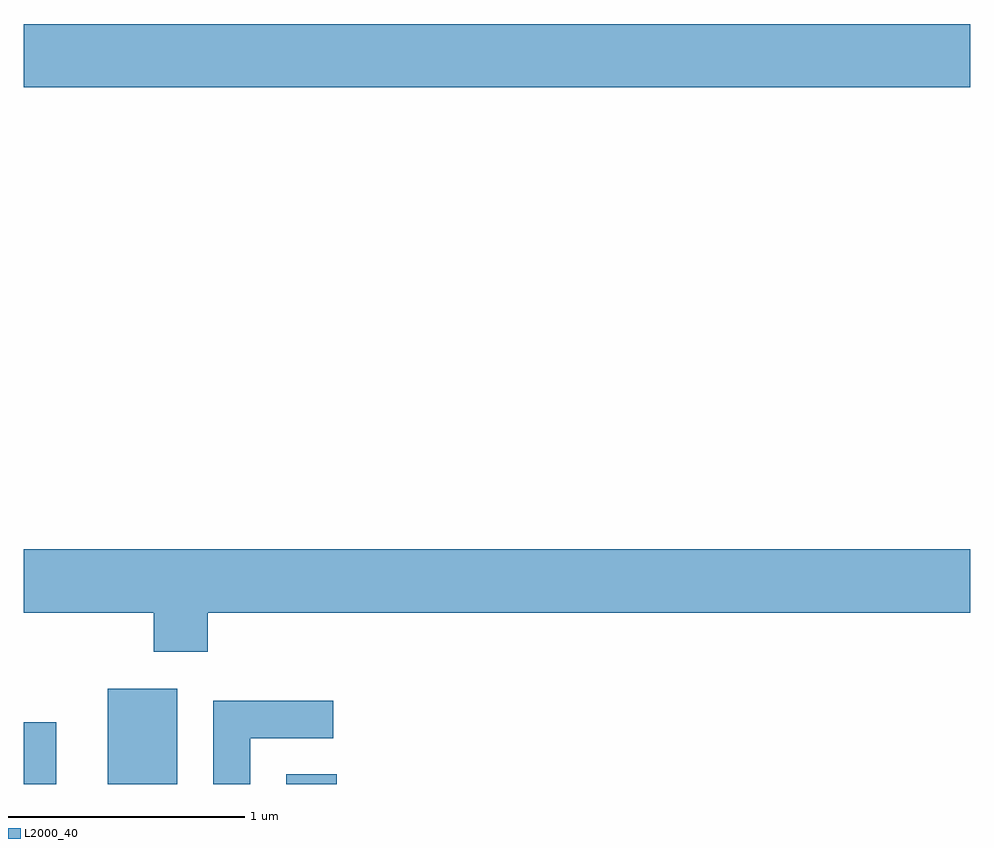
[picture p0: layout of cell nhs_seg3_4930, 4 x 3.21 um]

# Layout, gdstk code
import gdstk
lib = gdstk.Library(unit=1e-6, precision=1e-09)
def R(c, l, rs):  # rectangles x0, y0, x1, y1
    for r in rs: c.add(gdstk.rectangle(r[:2], r[2:], *l))
def P(c, l, *ps):  # polygons
    for p in ps: c.add(gdstk.Polygon(p, *l))
L2000_40 = (2000, 40)

nhs_seg3_4930 = lib.new_cell('nhs_seg3_4930')
R(nhs_seg3_4930, L2000_40, [(329.611,1191.892,329.749,1192.153), (329.966,1191.892,330.259,1192.294), (330.721,1191.892,330.934,1191.934), (329.611,1194.836,333.611,1195.104)])
P(nhs_seg3_4930, L2000_40, [(330.389,1192.616),(333.611,1192.616),(333.611,1192.884),(329.611,1192.884),(329.611,1192.616),(330.161,1192.616),(330.161,1192.451),(330.389,1192.451)],
  [(330.569,1192.086),(330.918,1192.086),(330.918,1192.244),(330.411,1192.244),(330.411,1191.892),(330.569,1191.892)])

lib.write_gds('nhs_seg3_4930.gds')
